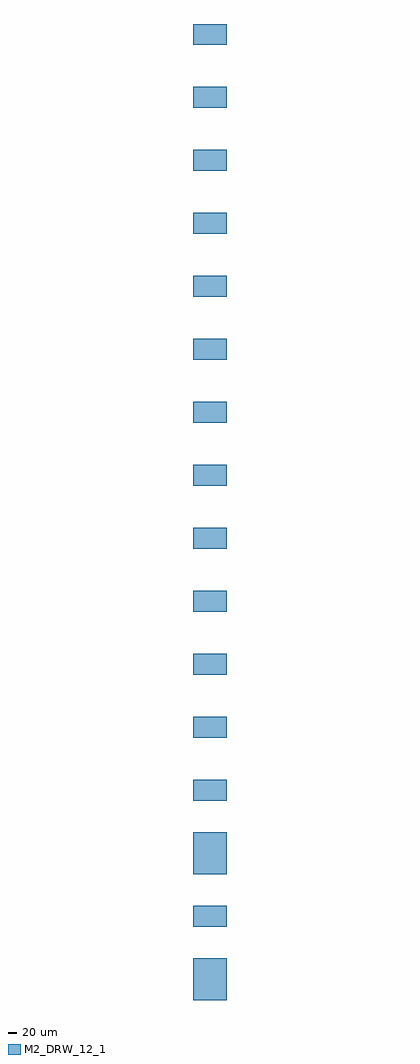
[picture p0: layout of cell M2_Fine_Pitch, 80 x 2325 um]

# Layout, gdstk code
import gdstk
lib = gdstk.Library(unit=1e-6, precision=1e-09)
def R(c, l, rs):  # rectangles x0, y0, x1, y1
    for r in rs: c.add(gdstk.rectangle(r[:2], r[2:], *l))
def A(c, l, x, y, w, h, nx, ny, dx, dy):  # array of equal rectangles
    R(c, l, [(x+i*dx, y+j*dy, x+i*dx+w, y+j*dy+h) for i in range(nx) for j in range(ny)])
M2_DRW_12_1 = (12, 1)

m2_fine_pitch = lib.new_cell('M2_Fine_Pitch')
A(m2_fine_pitch, M2_DRW_12_1, -40, 425, 80, 50, 1, 13, 0, 150)
R(m2_fine_pitch, M2_DRW_12_1, [(-40,-50,40,50), (-40,125,40,175), (-40,250,40,350)])

lib.write_gds('M2_Fine_Pitch.gds')
